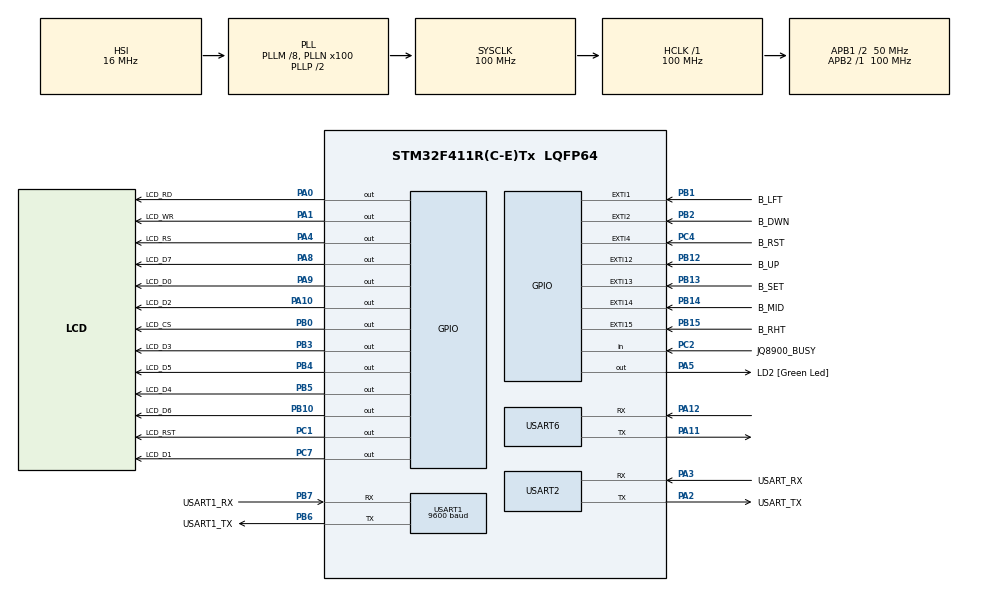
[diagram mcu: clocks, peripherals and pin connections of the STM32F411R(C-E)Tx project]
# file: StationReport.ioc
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Mcu.Family=STM32F4
Mcu.Name=STM32F411R(C-E)Tx
Mcu.Package=LQFP64
NVIC.EXTI15_10_IRQn=true\:0\:0\:false\:false\:true\:true\:true
NVIC.EXTI1_IRQn=true\:0\:0\:false\:false\:true\:true\:true
NVIC.EXTI2_IRQn=true\:1\:0\:true\:false\:true\:true\:true
NVIC.EXTI4_IRQn=true\:0\:0\:false\:false\:true\:true\:true
NVIC.PriorityGroup=NVIC_PRIORITYGROUP_4
NVIC.USART1_IRQn=true\:0\:0\:false\:false\:true\:true\:true
PA0-WKUP.GPIO_Label=LCD_RD
PA0-WKUP.Signal=GPIO_Output
PA1.GPIO_Label=LCD_WR
PA1.Signal=GPIO_Output
PA10.GPIO_Label=LCD_D2
PA10.Signal=GPIO_Output
PA11.Mode=Asynchronous
PA11.Signal=USART6_TX
PA12.Mode=Asynchronous
PA12.Signal=USART6_RX
PA13.Mode=Serial_Wire
PA13.Signal=SYS_JTMS-SWDIO
PA14.Mode=Serial_Wire
PA14.Signal=SYS_JTCK-SWCLK
PA2.GPIO_Label=USART_TX
PA2.Mode=Asynchronous
PA2.Signal=USART2_TX
PA3.GPIO_Label=USART_RX
PA3.Mode=Asynchronous
PA3.Signal=USART2_RX
PA4.GPIO_Label=LCD_RS
PA4.Signal=GPIO_Output
PA5.GPIO_Label=LD2 [Green Led]
PA5.Signal=GPIO_Output
PA8.GPIO_Label=LCD_D7
PA8.Signal=GPIO_Output
PA9.GPIO_Label=LCD_D0
PA9.Signal=GPIO_Output
PB0.GPIO_Label=LCD_CS
PB0.Signal=GPIO_Output
PB1.GPIO_Label=B_LFT
PB1.GPIO_PuPd=GPIO_PULLUP
PB1.Signal=GPXTI1
PB10.GPIO_Label=LCD_D6
PB10.Signal=GPIO_Output
PB12.GPIO_Label=B_UP
PB12.GPIO_PuPd=GPIO_PULLUP
PB12.Signal=GPXTI12
PB13.GPIO_Label=B_SET
PB13.GPIO_PuPd=GPIO_PULLUP
PB13.Signal=GPXTI13
PB14.GPIO_Label=B_MID
PB14.GPIO_PuPd=GPIO_PULLUP
PB14.Signal=GPXTI14
PB15.GPIO_Label=B_RHT
PB15.GPIO_PuPd=GPIO_PULLUP
PB15.Signal=GPXTI15
PB2.GPIO_Label=B_DWN
PB2.GPIO_PuPd=GPIO_PULLUP
PB2.Signal=GPXTI2
PB3.GPIO_Label=LCD_D3
PB3.Signal=GPIO_Output
PB4.GPIO_Label=LCD_D5
PB4.Signal=GPIO_Output
PB5.GPIO_Label=LCD_D4
PB5.Signal=GPIO_Output
PB6.GPIO_Label=USART1_TX
PB6.Mode=Asynchronous
PB6.Signal=USART1_TX
PB7.GPIO_Label=USART1_RX
PB7.Mode=Asynchronous
PB7.Signal=USART1_RX
PC1.GPIO_Label=LCD_RST
PC1.Signal=GPIO_Output
PC2.GPIO_Label=JQ8900_BUSY
PC2.GPIO_PuPd=GPIO_PULLDOWN
PC2.Signal=GPIO_Input
PC4.GPIO_Label=B_RST
PC4.GPIO_PuPd=GPIO_PULLUP
PC4.Signal=GPXTI4
PC7.GPIO_Label=LCD_D1
PC7.Signal=GPIO_Output
PH0\ -\ OSC_IN.Mode=HSE-External-Clock-Source
PH0\ -\ OSC_IN.Signal=RCC_OSC_IN
PH1\ -\ OSC_OUT.Mode=HSE-External-Clock-Source
PH1\ -\ OSC_OUT.Signal=RCC_OSC_OUT
ProjectManager.HeapSize=0x200
ProjectManager.StackSize=0x400
ProjectManager.TargetToolchain=STM32CubeIDE
RCC.48MHZClocksFreq_Value=50000000
RCC.AHBFreq_Value=100000000
RCC.APB1CLKDivider=RCC_HCLK_DIV2
RCC.APB1Freq_Value=50000000
RCC.APB1TimFreq_Value=100000000
RCC.APB2Freq_Value=100000000
RCC.APB2TimFreq_Value=100000000
RCC.CortexFreq_Value=100000000
RCC.FLatency-AdvancedSettings=FLASH_LATENCY_3
RCC.HCLKFreq_Value=100000000
RCC.HSE_VALUE=8000000
RCC.HSI_VALUE=16000000
RCC.LSE_VALUE=32768
RCC.PLLM=8
RCC.PLLN=100
RCC.SYSCLKFreq_VALUE=100000000
RCC.SYSCLKSource=RCC_SYSCLKSOURCE_PLLCLK
RCC.VCOOutputFreq_Value=200000000
USART1.BaudRate=9600
USART1.VirtualMode=VM_ASYNC
USART2.VirtualMode=VM_ASYNC
USART6.VirtualMode=VM_ASYNC
board=NUCLEO-F411RE

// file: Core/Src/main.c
/* USER CODE BEGIN Header */
/**
  ******************************************************************************
  * @file           : main.c
  * @brief          : Main program body
  ******************************************************************************
  * @attention
  *
  * <h2><center>&copy; Copyright (c) 2021 STMicroelectronics.
  * All rights reserved.</center></h2>
  *
  * This software component is licensed by ST under BSD 3-Clause license,
  * the "License"; You may not use this file except in compliance with the
  * License. You may obtain a copy of the License at:
  *                        opensource.org/licenses/BSD-3-Clause
  *
  ******************************************************************************
  */
/* USER CODE END Header */
#include "main.h"
#include "usart.h"
#include "gpio.h"

/* USER CODE BEGIN Includes */
#include "audio.h"
#include "LCD.h"
#include "JQ8900.h"
#include "system_asset.h"

/* USER CODE END Includes */

void SystemClock_Config(void);

/* USER CODE BEGIN 0 */
int flagMode=0;
int flagIn=0;
int flagOut=0;
int flagTips=0;
int flagRst=1;

typedef enum{
	  normal,
	  setting
}Mode;
Mode mode=normal;
/* USER CODE END 0 */

int main(void)
{
  /* USER CODE BEGIN 1 */

  uint8_t routeNow=0;
  uint8_t routeNum=sizeof(Route)/sizeof(struct route);

  uint8_t upNow=1;//bus direction: 0 down 1up
  uint8_t upNext=1;//bus direction: 0 down 1up
  uint8_t stationNow=0;
  uint8_t stationNext=1;

  /* USER CODE END 1 */

  /* MCU Configuration--------------------------------------------------------*/

  /* Reset of all peripherals, Initializes the Flash interface and the Systick. */
  HAL_Init();

  /* Configure the system clock */
  SystemClock_Config();

  /* Initialize all configured peripherals */
  MX_GPIO_Init();
  MX_USART2_UART_Init();
  MX_USART1_UART_Init();
  MX_USART6_UART_Init();
  /* USER CODE BEGIN 2 */
  LCD.Setup.Init();
  LCD.Disp.Rectangle(0,0,320,240,Color.Black);
  LCD.Disp.Rectangle(137,57,184,75,Color.White);
  LCD.Disp.StrCenter16(58, 1, Color.Black, Color.White, Route[routeNow].Title);
  JQ8900_commandData(0x13,5,1);//volumn set:5

  /* USER CODE END 2 */

  /* Infinite loop */
  /* USER CODE BEGIN WHILE */
  while (1)
  {
	  switch(mode)
	  {
	  	  case setting:
	  		  if(flagMode)
	  		  {
	  			  mode=normal;
	  			  flagRst=1;
	  			  HAL_Delay(200);
	  			  flagMode=0;
	  		  }
  			  if(flagOut)
  			  {
  				  if(routeNow==routeNum-1) routeNow=0;
  				  else routeNow++;
  	  			  LCD.Disp.Rectangle(137,57,184,75,Color.White);
  	  			  LCD.Disp.StrCenter16(58, 1, Color.Black, Color.White, Route[routeNow].Title); //display bus route
  	  			  flagOut=0;
  			  }
  			  break;
	  	  case normal:
	  		  if(stationNow==0) upNow=1;
	  		  if(stationNow==Route[routeNow].StationNum-1) upNow=0;
	  		  if(stationNext==0) upNext=1;
	  		  if(stationNext==Route[routeNow].StationNum-1) upNext=0;

	  		  if(flagRst)
	  		  {
	  			  stationNow=0;
	  			  stationNext=1;
	  			  Audio.Setup.Stop();
	  			  LCD.Disp.CharXY16(5,220,Color.Green, Color.Black,"S:X");
	  			  LCD.Disp.StrXY08(25,220,1,Color.Cyan, Color.Black,"V:3");
	  			  LCD.Disp.StrXY08(42,220,1,Color.Cyan, Color.Black,"S:60");
	  			  LCD.Disp.StrXY08(25,228,1,Color.White, Color.Black,"2018051404013");
	  			  char stationNowStr[3];
	  			  itoa(stationNow+1,stationNowStr,10);
	  			  LCD.Disp.StrXY16(295,220,0,Color.White, Color.Black,stationNowStr);
	  			  LCD.Disp.Rectangle(137,57,184,75,Color.White);
	  			  LCD.Disp.Rectangle(0,90,319,153,Color.Black); //clear previous station display
	  			  LCD.Disp.StrCenter16(58, 1, Color.Black, Color.White, Route[routeNow].Title); //display bus route
	  			  LCD.Disp.StrCenter32(90, 1, Color.White, Color.Black, Route[routeNow].Station[stationNow]); //display station now
	  			  LCD.Disp.StrCenter16(137, 1, Color.White, Color.Black, Route[routeNow].Station[stationNext]); //display station next
	  			  flagRst=0;
	  		  }
	  		  if(flagMode)
	  		  {
	  			  mode=setting;
	  			  Audio.Setup.Stop();
	  			  LCD.Disp.CharXY16(5,220,Color.Cyan, Color.Black,"S:X");
	  			  flagMode=0;
	  		  }

	  		  if(flagIn)
	  		  {
	  			  LCD.Disp.CharXY16(5,220,Color.Green, Color.Black,"S:X");
	  			  Audio.Report.In(stationNow+1);
	  			  flagIn=0;
	  		  }

	  		  if(flagOut)
	  		  {
	  			  if(upNow) stationNow++;
	  			  else stationNow--;
	  			  if(upNext) stationNext++;
	  			  else stationNext--;
	  			  char stationNowStr[3];
	  			  itoa(stationNow+1,stationNowStr,10);
	  			  LCD.Disp.CharXY16(5,220,Color.Red, Color.Black,"S:X");
	  			  LCD.Disp.StrXY16(295,220,0,Color.White, Color.Black,stationNowStr);
	  			  LCD.Disp.Rectangle(0,90,319,153,Color.Black); //clear previous station display
	  			  LCD.Disp.StrCenter32(90, 1, Color.White, Color.Black, Route[routeNow].Station[stationNow]); //display station now
	  			  LCD.Disp.StrCenter16(137, 1, Color.White, Color.Black, Route[routeNow].Station[stationNext]); //display station next
	  			  Audio.Report.Out(stationNext+1);
	  			  flagOut=0;
	  		  }

	  		  if(flagTips)
	  		  {
	  			  Audio.Report.Tips();
	  			  flagTips=0;
	  		  }
	  		  flagMode=0;
	  		  break;
	  }

    /* USER CODE END WHILE */

  }
}

void SystemClock_Config(void)
{
  RCC_OscInitTypeDef RCC_OscInitStruct = {0};
  RCC_ClkInitTypeDef RCC_ClkInitStruct = {0};

  /** Configure the main internal regulator output voltage
  */
  __HAL_RCC_PWR_CLK_ENABLE();
  __HAL_PWR_VOLTAGESCALING_CONFIG(PWR_REGULATOR_VOLTAGE_SCALE1);
  /** Initializes the RCC Oscillators according to the specified parameters
  * in the RCC_OscInitTypeDef structure.
  */
  RCC_OscInitStruct.OscillatorType = RCC_OSCILLATORTYPE_HSI;
  RCC_OscInitStruct.HSIState = RCC_HSI_ON;
  RCC_OscInitStruct.HSICalibrationValue = RCC_HSICALIBRATION_DEFAULT;
  RCC_OscInitStruct.PLL.PLLState = RCC_PLL_ON;
  RCC_OscInitStruct.PLL.PLLSource = RCC_PLLSOURCE_HSI;
  RCC_OscInitStruct.PLL.PLLM = 8;
  RCC_OscInitStruct.PLL.PLLN = 100;
  RCC_OscInitStruct.PLL.PLLP = RCC_PLLP_DIV2;
  RCC_OscInitStruct.PLL.PLLQ = 4;
  if (HAL_RCC_OscConfig(&RCC_OscInitStruct) != HAL_OK)
  {
    Error_Handler();
  }
  /** Initializes the CPU, AHB and APB buses clocks
  */
  RCC_ClkInitStruct.ClockType = RCC_CLOCKTYPE_HCLK|RCC_CLOCKTYPE_SYSCLK
                              |RCC_CLOCKTYPE_PCLK1|RCC_CLOCKTYPE_PCLK2;
  RCC_ClkInitStruct.SYSCLKSource = RCC_SYSCLKSOURCE_PLLCLK;
  RCC_ClkInitStruct.AHBCLKDivider = RCC_SYSCLK_DIV1;
  RCC_ClkInitStruct.APB1CLKDivider = RCC_HCLK_DIV2;
  RCC_ClkInitStruct.APB2CLKDivider = RCC_HCLK_DIV1;

  if (HAL_RCC_ClockConfig(&RCC_ClkInitStruct, FLASH_LATENCY_3) != HAL_OK)
  {
    Error_Handler();
  }
}

/* USER CODE BEGIN 4 */

void HAL_GPIO_EXTI_Callback(uint16_t GPIO_Pin)
{
	//if(HAL_GPIO_ReadPin(JQ8900_BUSY_GPIO_Port,JQ8900_BUSY_Pin)==GPIO_PIN_RESET)
	switch(GPIO_Pin)
	{
		case B_RST_Pin: flagRst=1;  break;
		case B_SET_Pin: flagMode=1; break;
		case B_UP_Pin:  flagOut=1;  break;
		case B_RHT_Pin: flagTips=1; break;
		//case B_LFT_Pin: flagOut=1;  break;
		case B_MID_Pin: flagIn=1;     break;
		//case B_LFT_Pin: flag; break;
	}
}

/* USER CODE END 4 */

void Error_Handler(void)
{
  __disable_irq();
  while (1)
  {
  }
}

/************************ (C) COPYRIGHT STMicroelectronics *****END OF FILE****/
